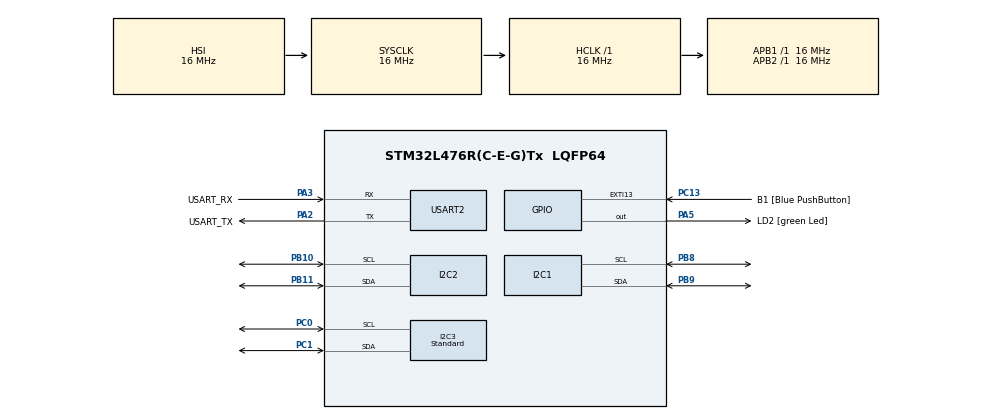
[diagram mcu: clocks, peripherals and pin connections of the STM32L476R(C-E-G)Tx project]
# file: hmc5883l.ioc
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I2C1.Analog_Filter=I2C_ANALOGFILTER_DISABLE
I2C1.CustomTiming=Disabled
I2C1.I2C_Rise_Time=1000
I2C1.Timing=0x10901E26
I2C2.Timing=0x00303D5B
I2C3.Analog_Filter=I2C_ANALOGFILTER_DISABLE
I2C3.CustomTiming=Disabled
I2C3.I2C_Rise_Time=1000
I2C3.I2C_Speed_Mode=I2C_Standard
I2C3.NoStretchMode=I2C_NOSTRETCH_DISABLE
I2C3.Timing=0x10901E26
Mcu.Family=STM32L4
Mcu.Name=STM32L476R(C-E-G)Tx
Mcu.Package=LQFP64
NVIC.I2C1_ER_IRQn=true\:0\:0\:false\:false\:true\:true\:true\:true
NVIC.I2C1_EV_IRQn=true\:0\:0\:false\:false\:true\:true\:true\:true
NVIC.PriorityGroup=NVIC_PRIORITYGROUP_4
PA13\ (JTMS-SWDIO).GPIO_Label=TMS
PA13\ (JTMS-SWDIO).Mode=Serial_Wire
PA13\ (JTMS-SWDIO).Signal=SYS_JTMS-SWDIO
PA14\ (JTCK-SWCLK).GPIO_Label=TCK
PA14\ (JTCK-SWCLK).Mode=Serial_Wire
PA14\ (JTCK-SWCLK).Signal=SYS_JTCK-SWCLK
PA2.GPIO_Label=USART_TX
PA2.GPIO_Mode=GPIO_MODE_AF_PP
PA2.GPIO_PuPd=GPIO_NOPULL
PA2.GPIO_Speed=GPIO_SPEED_FREQ_VERY_HIGH
PA2.Mode=Asynchronous
PA2.Signal=USART2_TX
PA3.GPIO_Label=USART_RX
PA3.GPIO_Mode=GPIO_MODE_AF_PP
PA3.GPIO_PuPd=GPIO_NOPULL
PA3.GPIO_Speed=GPIO_SPEED_FREQ_VERY_HIGH
PA3.Mode=Asynchronous
PA3.Signal=USART2_RX
PA5.GPIO_Label=LD2 [green Led]
PA5.GPIO_ModeDefaultOutputPP=GPIO_MODE_OUTPUT_PP
PA5.GPIO_PuPd=GPIO_NOPULL
PA5.GPIO_Speed=GPIO_SPEED_FREQ_LOW
PA5.Signal=GPIO_Output
PB10.GPIO_Pu=GPIO_PULLUP
PB10.Mode=I2C
PB10.Signal=I2C2_SCL
PB11.Mode=I2C
PB11.Signal=I2C2_SDA
PB3\ (JTDO-TRACESWO).GPIO_Label=SWO
PB3\ (JTDO-TRACESWO).Signal=SYS_JTDO-SWO
PB8.GPIO_Pu=GPIO_PULLUP
PB8.Mode=I2C
PB8.Signal=I2C1_SCL
PB9.GPIO_FM9=I2C_FASTMODEPLUS_PB9
PB9.GPIO_Pu=GPIO_PULLUP
PB9.Mode=I2C
PB9.Signal=I2C1_SDA
PC0.GPIO_Pu=GPIO_PULLUP
PC0.Mode=I2C
PC0.Signal=I2C3_SCL
PC1.GPIO_Pu=GPIO_PULLUP
PC1.Mode=I2C
PC1.Signal=I2C3_SDA
PC13.GPIO_Label=B1 [Blue PushButton]
PC13.GPIO_ModeDefaultEXTI=GPIO_MODE_IT_FALLING
PC13.GPIO_PuPd=GPIO_NOPULL
PC13.Signal=GPXTI13
PC14-OSC32_IN\ (PC14).Mode=LSE-External-Oscillator
PC14-OSC32_IN\ (PC14).Signal=RCC_OSC32_IN
PC15-OSC32_OUT\ (PC15).Mode=LSE-External-Oscillator
PC15-OSC32_OUT\ (PC15).Signal=RCC_OSC32_OUT
PH0-OSC_IN\ (PH0).Mode=HSE-External-Oscillator
PH0-OSC_IN\ (PH0).Signal=RCC_OSC_IN
PH1-OSC_OUT\ (PH1).Mode=HSE-External-Oscillator
PH1-OSC_OUT\ (PH1).Signal=RCC_OSC_OUT
ProjectManager.HeapSize=0x200
ProjectManager.StackSize=0x400
ProjectManager.TargetToolchain=STM32CubeIDE
RCC.ADCFreq_Value=64000000
RCC.AHBFreq_Value=16000000
RCC.APB1Freq_Value=16000000
RCC.APB1TimFreq_Value=16000000
RCC.APB2Freq_Value=16000000
RCC.APB2TimFreq_Value=16000000
RCC.CortexFreq_Value=16000000
RCC.HCLKFreq_Value=16000000
RCC.HSE_VALUE=8000000
RCC.HSI_VALUE=16000000
RCC.MSI_VALUE=4000000
RCC.PLLN=10
RCC.PLLSourceVirtual=RCC_PLLSOURCE_HSI
RCC.PREFETCH_ENABLE=1
RCC.SYSCLKFreq_VALUE=16000000
RCC.SYSCLKSource=RCC_SYSCLKSOURCE_HSI
RCC.USBFreq_Value=64000000
RCC.VCOOutputFreq_Value=160000000
USART2.VirtualMode-Asynchronous=VM_ASYNC
board=NUCLEO-L476RG

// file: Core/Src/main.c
/* USER CODE BEGIN Header */
/**
  ******************************************************************************
  * @file           : main.c
  * @brief          : Main program body
  * @author			: Abhishek Shukla(Github - @abhisheeekkk)
  ******************************************************************************
  * @attention
  *
  * Copyright (c) 2023 STMicroelectronics.
  * All rights reserved.
  *
  * This software is licensed under terms that can be found in the LICENSE file
  * in the root directory of this software component.
  * If no LICENSE file comes with this software, it is provided AS-IS.
  *
  ******************************************************************************
  */
 /*
	I was stuck on this for too long, had to connect around 4K resistor to SCL line externally, even if internally it is pulled up.
	wiring is :

  PB8 - SCL (I2C1_SCL)
  PB9 - SDA (I2C1_SDA)
  5V - for HMC5883L
  GND - GND

  ALSO EXTERNALL RESISTOR OF 4k OHM TO SCL AND VCC
  */

/*For logic Analyzer Wiring is :
 *
 * GND TO CH8
 * SDA TO CH1
 * SCL TO CH2
 */
/* USER CODE END Header */
#include "main.h"

/* USER CODE BEGIN PTD */

// variables for receiving DATA

// adresses
// HMC5883l - ADDRESS
//#define HMC5883l_ADDRESS (0x1E << 1)
//// CONTROL REG A
//#define HMC5883l_Enable_A (0x78)
//// CONTROL REG B
//#define HMC5883l_Enable_B (0xA0)
//// MODE REGISTER
//#define HMC5883l_MR (0x00)
//// HMC5883l - MSB / LSB ADDRESSES
//#define HMC5883l_ADD_DATAX_MSB (0x03)
//#define HMC5883l_ADD_DATAX_LSB (0x04)
//#define HMC5883l_ADD_DATAZ_MSB (0x05)
//#define HMC5883l_ADD_DATAZ_LSB (0x06)
//#define HMC5883l_ADD_DATAY_MSB (0x07)
//#define HMC5883l_ADD_DATAY_LSB (0x08)
//// SUM (MSB + LSB) DEFINE
//#define HMC5883l_ADD_DATAX_MSB_MULTI (HMC5883l_ADD_DATAX_MSB | 0x80)
//#define HMC5883l_ADD_DATAY_MSB_MULTI (HMC5883l_ADD_DATAY_MSB | 0x80)
//#define HMC5883l_ADD_DATAZ_MSB_MULTI (HMC5883l_ADD_DATAZ_MSB | 0x80

#define HMC5883L_ADDRESS    0x1E

#define HMC5883L_REG_CONFIGA    0x00
#define HMC5883L_REG_MODE       0x02
#define HMC5883L_REG_DATA       0x03

#define HMC5883L_MODEREG_BIT        1
#define HMC5883L_MODEREG_LENGTH     2

/* USER CODE END PTD */

I2C_HandleTypeDef hi2c1;
I2C_HandleTypeDef hi2c2;
I2C_HandleTypeDef hi2c3;

UART_HandleTypeDef huart2;

void SystemClock_Config(void);
static void MX_GPIO_Init(void);
static void MX_USART2_UART_Init(void);
static void MX_I2C1_Init(void);
static void MX_I2C3_Init(void);
static void MX_I2C2_Init(void);

/* USER CODE BEGIN 0 */

//Initializes the HMC5883L sensor in continuous mode, By writing 0x00 at 0x02 register.
void HMC5883L_Init(void)
{
    uint8_t config_data = 0x00;// << (HMC5883L_MODEREG_BIT - HMC5883L_MODEREG_LENGTH + 1); // Continuous measurement mode, 8-sample average, 15Hz data output rate
//
    HAL_StatusTypeDef st;
    uint8_t kk = 0x1E;
    uint8_t pp = 0x02;

    uint8_t data[2];

    data[0] = 0x02;     // 0x0C in your example
    data[1] = 0x00;    // MSB byte of 16bit data
//    HAL_I2C_Mem_Write(&hi2c1, HMC5883L_ADDRESS<<1, HMC5883L_REG_MODE, I2C_MEMADD_SIZE_8BIT, &config_data, 1, 1000);
//
    st = HAL_I2C_Master_Transmit(&hi2c1, 0x1E<<1, data, 2, HAL_MAX_DELAY); // SET DEVICE MODE - continuous mode

//     HAL_I2C_Master_Transmit(&hi2c1, kk<<1, 0x00, 1, 5000); //SET START RANGE
}

//read the data from sensor
void HMC5883L_ReadData(int16_t* x, int16_t* y, int16_t* z)
{
    uint8_t buffer[6];

    HAL_I2C_Mem_Read(&hi2c1, HMC5883L_ADDRESS<<1, HMC5883L_REG_DATA, I2C_MEMADD_SIZE_8BIT, buffer, 6, HAL_MAX_DELAY);

    *x = (((int16_t)buffer[0]) << 8) | buffer[1];
    *y = (((int16_t)buffer[4]) << 8) | buffer[5];
    *z = (((int16_t)buffer[2]) << 8) | buffer[3];
}

//send the sensor data using serial port.
void USART_SendInt(UART_HandleTypeDef *huart, int16_t value)
{
    char buffer1[8];
    sprintf(buffer1, "%d\r\n", value);
    HAL_UART_Transmit(&huart2, (uint8_t*)buffer1, strlen(buffer1), HAL_MAX_DELAY);
}
/* USER CODE END 0 */

int main(void)
{
  /* USER CODE BEGIN 1 */
	uint8_t DataX[2];
	uint16_t Xaxis = 0;
	uint8_t DataY[2];
	uint16_t Yaxis = 0;
	uint8_t DataZ[2];
	uint16_t Zaxis = 0;

  /* USER CODE END 1 */

  /* MCU Configuration--------------------------------------------------------*/

  /* Reset of all peripherals, Initializes the Flash interface and the Systick. */
  HAL_Init();

  /* Configure the system clock */
  SystemClock_Config();

  /* Initialize all configured peripherals */
  MX_GPIO_Init();
  MX_USART2_UART_Init();
  MX_I2C1_Init();
  MX_I2C3_Init();
  MX_I2C2_Init();
  /* USER CODE BEGIN 2 */
//  uint8_t RegSettingA = HMC5883l_Enable_A;
//  uint8_t RegSettingB = HMC5883l_Enable_B;
//  uint8_t RegSettingMR = HMC5883l_MR;

  uint16_t address;
   char uartBuf[10];
  HAL_StatusTypeDef status;
//
//  for (address = 30; address < 255; address++)
//   {
//  uint8_t kk = 0x1E;
//     status = HAL_I2C_IsDeviceReady(&hi2c1,kk<<1, 10, 100);
//     if (status == HAL_OK)
//     {
//       sprintf(uartBuf, "Device found at 0x%02X\r\n", kk);
//       HAL_UART_Transmit(&huart2, (uint8_t *)uartBuf, strlen(uartBuf), HAL_MAX_DELAY);
//     }
//   }
//  __HAL_RCC_I2C3_FORCE_RESET();
//
//  HAL_Delay(1000);
//
//  __HAL_RCC_I2C3_RELEASE_RESET();
//
//  MX_I2C3_Init();
  Xaxis = 0;
  Yaxis = 0;
  Zaxis = 0;

//  HAL_I2C_Mem_Write(&hi2c1, HMC5883l_ADDRESS, 0x00 , 1, &RegSettingA , 1, 100);
//  HAL_I2C_Mem_Write(&hi2c1, HMC5883l_ADDRESS, 0x01 , 1, &RegSettingB , 1, 100);
//  HAL_I2C_Mem_Write(&hi2c1, HMC5883l_ADDRESS, 0x02 , 1, &RegSettingMR , 1, 100);

  HMC5883L_Init();

  int16_t x, y, z;
  /* USER CODE END 2 */

  /* Infinite loop */
  while (1)
  {

    /* USER CODE BEGIN 3 */

	 HMC5883L_ReadData(&x, &y, &z);
	 USART_SendInt(&huart2, x);
	 USART_SendInt(&huart2, y);
	 USART_SendInt(&huart2, z);

	 HAL_Delay(1000);
  }
  /* USER CODE END 3 */
}

void SystemClock_Config(void)
{
  RCC_OscInitTypeDef RCC_OscInitStruct = {0};
  RCC_ClkInitTypeDef RCC_ClkInitStruct = {0};

  /** Configure the main internal regulator output voltage
  */
  if (HAL_PWREx_ControlVoltageScaling(PWR_REGULATOR_VOLTAGE_SCALE1) != HAL_OK)
  {
    Error_Handler();
  }

  /** Initializes the RCC Oscillators according to the specified parameters
  * in the RCC_OscInitTypeDef structure.
  */
  RCC_OscInitStruct.OscillatorType = RCC_OSCILLATORTYPE_HSI;
  RCC_OscInitStruct.HSIState = RCC_HSI_ON;
  RCC_OscInitStruct.HSICalibrationValue = RCC_HSICALIBRATION_DEFAULT;
  RCC_OscInitStruct.PLL.PLLState = RCC_PLL_NONE;
  if (HAL_RCC_OscConfig(&RCC_OscInitStruct) != HAL_OK)
  {
    Error_Handler();
  }

  /** Initializes the CPU, AHB and APB buses clocks
  */
  RCC_ClkInitStruct.ClockType = RCC_CLOCKTYPE_HCLK|RCC_CLOCKTYPE_SYSCLK
                              |RCC_CLOCKTYPE_PCLK1|RCC_CLOCKTYPE_PCLK2;
  RCC_ClkInitStruct.SYSCLKSource = RCC_SYSCLKSOURCE_HSI;
  RCC_ClkInitStruct.AHBCLKDivider = RCC_SYSCLK_DIV1;
  RCC_ClkInitStruct.APB1CLKDivider = RCC_HCLK_DIV1;
  RCC_ClkInitStruct.APB2CLKDivider = RCC_HCLK_DIV1;

  if (HAL_RCC_ClockConfig(&RCC_ClkInitStruct, FLASH_LATENCY_0) != HAL_OK)
  {
    Error_Handler();
  }
}

static void MX_I2C1_Init(void)
{

  hi2c1.Instance = I2C1;
  hi2c1.Init.Timing = 0x10901E26;
  hi2c1.Init.OwnAddress1 = 0;
  hi2c1.Init.AddressingMode = I2C_ADDRESSINGMODE_7BIT;
  hi2c1.Init.DualAddressMode = I2C_DUALADDRESS_DISABLE;
  hi2c1.Init.OwnAddress2 = 0;
  hi2c1.Init.OwnAddress2Masks = I2C_OA2_NOMASK;
  hi2c1.Init.GeneralCallMode = I2C_GENERALCALL_DISABLE;
  hi2c1.Init.NoStretchMode = I2C_NOSTRETCH_DISABLE;
  if (HAL_I2C_Init(&hi2c1) != HAL_OK)
  {
    Error_Handler();
  }

  /** Configure Analogue filter
  */
  if (HAL_I2CEx_ConfigAnalogFilter(&hi2c1, I2C_ANALOGFILTER_DISABLE) != HAL_OK)
  {
    Error_Handler();
  }

  /** Configure Digital filter
  */
  if (HAL_I2CEx_ConfigDigitalFilter(&hi2c1, 0) != HAL_OK)
  {
    Error_Handler();
  }

}

static void MX_I2C2_Init(void)
{

  hi2c2.Instance = I2C2;
  hi2c2.Init.Timing = 0x00303D5B;
  hi2c2.Init.OwnAddress1 = 0;
  hi2c2.Init.AddressingMode = I2C_ADDRESSINGMODE_7BIT;
  hi2c2.Init.DualAddressMode = I2C_DUALADDRESS_DISABLE;
  hi2c2.Init.OwnAddress2 = 0;
  hi2c2.Init.OwnAddress2Masks = I2C_OA2_NOMASK;
  hi2c2.Init.GeneralCallMode = I2C_GENERALCALL_DISABLE;
  hi2c2.Init.NoStretchMode = I2C_NOSTRETCH_DISABLE;
  if (HAL_I2C_Init(&hi2c2) != HAL_OK)
  {
    Error_Handler();
  }

  /** Configure Analogue filter
  */
  if (HAL_I2CEx_ConfigAnalogFilter(&hi2c2, I2C_ANALOGFILTER_ENABLE) != HAL_OK)
  {
    Error_Handler();
  }

  /** Configure Digital filter
  */
  if (HAL_I2CEx_ConfigDigitalFilter(&hi2c2, 0) != HAL_OK)
  {
    Error_Handler();
  }

}

static void MX_I2C3_Init(void)
{

  hi2c3.Instance = I2C3;
  hi2c3.Init.Timing = 0x10901E26;
  hi2c3.Init.OwnAddress1 = 0;
  hi2c3.Init.AddressingMode = I2C_ADDRESSINGMODE_7BIT;
  hi2c3.Init.DualAddressMode = I2C_DUALADDRESS_DISABLE;
  hi2c3.Init.OwnAddress2 = 0;
  hi2c3.Init.OwnAddress2Masks = I2C_OA2_NOMASK;
  hi2c3.Init.GeneralCallMode = I2C_GENERALCALL_DISABLE;
  hi2c3.Init.NoStretchMode = I2C_NOSTRETCH_DISABLE;
  if (HAL_I2C_Init(&hi2c3) != HAL_OK)
  {
    Error_Handler();
  }

  /** Configure Analogue filter
  */
  if (HAL_I2CEx_ConfigAnalogFilter(&hi2c3, I2C_ANALOGFILTER_DISABLE) != HAL_OK)
  {
    Error_Handler();
  }

  /** Configure Digital filter
  */
  if (HAL_I2CEx_ConfigDigitalFilter(&hi2c3, 0) != HAL_OK)
  {
    Error_Handler();
  }

}

static void MX_USART2_UART_Init(void)
{

  huart2.Instance = USART2;
  huart2.Init.BaudRate = 115200;
  huart2.Init.WordLength = UART_WORDLENGTH_8B;
  huart2.Init.StopBits = UART_STOPBITS_1;
  huart2.Init.Parity = UART_PARITY_NONE;
  huart2.Init.Mode = UART_MODE_TX_RX;
  huart2.Init.HwFlowCtl = UART_HWCONTROL_NONE;
  huart2.Init.OverSampling = UART_OVERSAMPLING_16;
  huart2.Init.OneBitSampling = UART_ONE_BIT_SAMPLE_DISABLE;
  huart2.AdvancedInit.AdvFeatureInit = UART_ADVFEATURE_NO_INIT;
  if (HAL_UART_Init(&huart2) != HAL_OK)
  {
    Error_Handler();
  }

}

static void MX_GPIO_Init(void)
{
  GPIO_InitTypeDef GPIO_InitStruct = {0};

  /* GPIO Ports Clock Enable */
  __HAL_RCC_GPIOC_CLK_ENABLE();
  __HAL_RCC_GPIOH_CLK_ENABLE();
  __HAL_RCC_GPIOA_CLK_ENABLE();
  __HAL_RCC_GPIOB_CLK_ENABLE();

  /*Configure GPIO pin Output Level */
  HAL_GPIO_WritePin(LD2_GPIO_Port, LD2_Pin, GPIO_PIN_RESET);

  /*Configure GPIO pin : B1_Pin */
  GPIO_InitStruct.Pin = B1_Pin;
  GPIO_InitStruct.Mode = GPIO_MODE_IT_FALLING;
  GPIO_InitStruct.Pull = GPIO_NOPULL;
  HAL_GPIO_Init(B1_GPIO_Port, &GPIO_InitStruct);

  /*Configure GPIO pin : LD2_Pin */
  GPIO_InitStruct.Pin = LD2_Pin;
  GPIO_InitStruct.Mode = GPIO_MODE_OUTPUT_PP;
  GPIO_InitStruct.Pull = GPIO_NOPULL;
  GPIO_InitStruct.Speed = GPIO_SPEED_FREQ_LOW;
  HAL_GPIO_Init(LD2_GPIO_Port, &GPIO_InitStruct);

}

void Error_Handler(void)
{
  __disable_irq();
  while (1)
  {
  }
}
